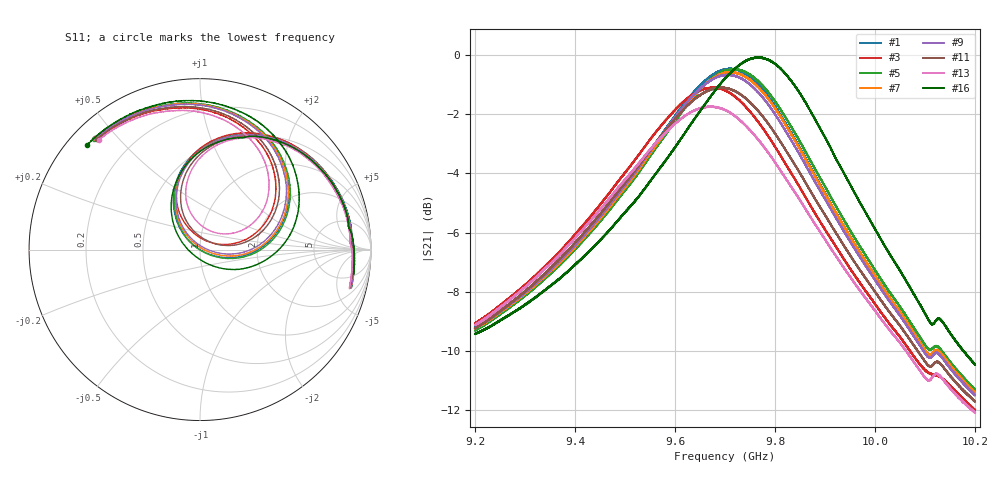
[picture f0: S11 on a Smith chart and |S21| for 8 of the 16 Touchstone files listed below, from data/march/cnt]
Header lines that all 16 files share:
!Agilent Technologies,N5242A,MY51221714,A.09.90.19
!Agilent N5242A: A.09.90.19
!Correction: S11(Full 2 Port(1,2))
!S21(Full 2 Port(1,2))
!S12(Full 2 Port(1,2))
!S22(Full 2 Port(1,2))
!S2P File: Measurements: S11, S21, S12, S22:
# Hz S  dB  R 50
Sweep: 9.2 GHz to 10.2 GHz
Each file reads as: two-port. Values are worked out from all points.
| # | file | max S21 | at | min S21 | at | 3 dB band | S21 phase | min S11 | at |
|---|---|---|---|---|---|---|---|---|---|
| 1 | c0_1.s2p | -0.45 dB | 9.709 GHz | -11.4 dB | 10.2 GHz | 9.541 GHz-9.86 GHz | -111 deg at 9.7 GHz | -65.3 dB | 9.711 GHz |
| 2 | c0_2.s2p | -0.46 dB | 9.714 GHz | -11.4 dB | 10.2 GHz | 9.542 GHz-9.861 GHz | -110 deg at 9.7 GHz | -56.0 dB | 9.713 GHz |
| 3 | c3_1.s2p | -1.09 dB | 9.679 GHz | -12.0 dB | 10.2 GHz | 9.495 GHz-9.836 GHz | -123 deg at 9.7 GHz | -24.3 dB | 9.677 GHz |
| 4 | c10_1.s2p | -0.48 dB | 9.716 GHz | -11.3 dB | 10.2 GHz | 9.549 GHz-9.869 GHz | -108 deg at 9.7 GHz | -65.5 dB | 9.72 GHz |
| 5 | c10_2.s2p | -0.47 dB | 9.714 GHz | -11.3 dB | 10.2 GHz | 9.548 GHz-9.868 GHz | -108 deg at 9.7 GHz | -56.1 dB | 9.719 GHz |
| 6 | c11_1.s2p | -0.49 dB | 9.723 GHz | -11.3 dB | 10.2 GHz | 9.55 GHz-9.87 GHz | -108 deg at 9.7 GHz | -56.1 dB | 9.72 GHz |
| 7 | c11_2.s2p | -0.57 dB | 9.713 GHz | -11.4 dB | 10.2 GHz | 9.54 GHz-9.863 GHz | -111 deg at 9.7 GHz | -39.4 dB | 9.713 GHz |
| 8 | c12_1.s2p | -0.50 dB | 9.716 GHz | -11.3 dB | 10.2 GHz | 9.545 GHz-9.866 GHz | -109 deg at 9.7 GHz | -49.4 dB | 9.717 GHz |
| 9 | c12_2.s2p | -0.66 dB | 9.706 GHz | -11.5 dB | 10.2 GHz | 9.533 GHz-9.859 GHz | -113 deg at 9.7 GHz | -33.9 dB | 9.708 GHz |
| 10 | c13_1.s2p | -0.54 dB | 9.71 GHz | -11.4 dB | 10.2 GHz | 9.539 GHz-9.861 GHz | -111 deg at 9.7 GHz | -40.3 dB | 9.711 GHz |
| 11 | c13_2.s2p | -1.09 dB | 9.697 GHz | -11.7 dB | 10.2 GHz | 9.512 GHz-9.853 GHz | -117 deg at 9.7 GHz | -23.7 dB | 9.695 GHz |
| 12 | c14_1.s2p | -0.62 dB | 9.709 GHz | -11.5 dB | 10.2 GHz | 9.536 GHz-9.861 GHz | -112 deg at 9.7 GHz | -36.0 dB | 9.709 GHz |
| 13 | c14_2.s2p | -1.73 dB | 9.671 GHz | -12.1 dB | 10.2 GHz | 9.475 GHz-9.844 GHz | -124 deg at 9.7 GHz | -18.1 dB | 9.673 GHz |
| 14 | c15_1.s2p | -0.58 dB | 9.71 GHz | -11.4 dB | 10.2 GHz | 9.538 GHz-9.862 GHz | -111 deg at 9.7 GHz | -38.7 dB | 9.711 GHz |
| 15 | c15_2.s2p | -1.47 dB | 9.682 GHz | -12.0 dB | 10.2 GHz | 9.489 GHz-9.847 GHz | -121 deg at 9.7 GHz | -19.3 dB | 9.684 GHz |
| 16 | fp.s2p | -0.07 dB | 9.765 GHz | -10.5 dB | 10.2 GHz | 9.602 GHz-9.909 GHz | -91 deg at 9.7 GHz | -26.7 dB | 9.765 GHz |
